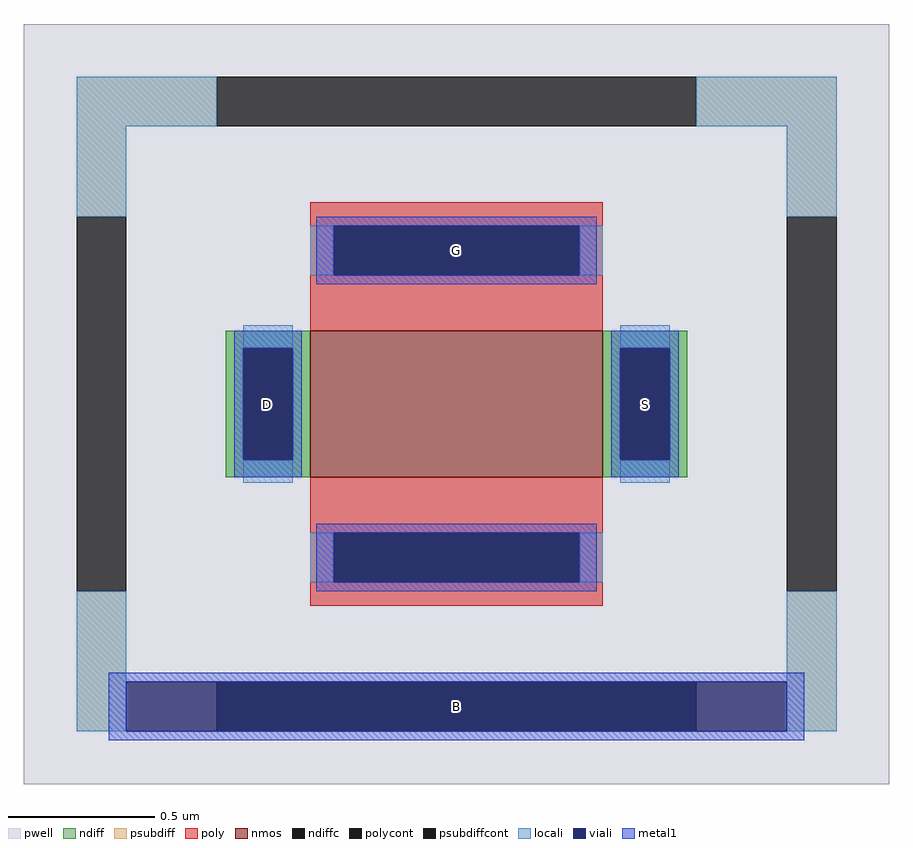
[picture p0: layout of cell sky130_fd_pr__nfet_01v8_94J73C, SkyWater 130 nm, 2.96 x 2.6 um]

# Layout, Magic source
magic
tech sky130A
magscale 1 2
<< pwell >>
rect -296 -260 296 260
<< nmos >>
rect -100 -50 100 50
<< ndiff >>
rect -158 38 -100 50
rect -158 -38 -146 38
rect -112 -38 -100 38
rect -158 -50 -100 -38
rect 100 38 158 50
rect 100 -38 112 38
rect 146 -38 158 38
rect 100 -50 158 -38
<< ndiffc >>
rect -146 -38 -112 38
rect 112 -38 146 38
<< psubdiff >>
rect -260 190 -164 224
rect 164 190 260 224
rect -260 128 -226 190
rect 226 128 260 190
rect -260 -190 -226 -128
rect 226 -190 260 -128
rect -260 -224 -164 -190
rect 164 -224 260 -190
<< psubdiffcont >>
rect -164 190 164 224
rect -260 -128 -226 128
rect 226 -128 260 128
rect -164 -224 164 -190
<< poly >>
rect -100 122 100 138
rect -100 88 -84 122
rect 84 88 100 122
rect -100 50 100 88
rect -100 -88 100 -50
rect -100 -122 -84 -88
rect 84 -122 100 -88
rect -100 -138 100 -122
<< polycont >>
rect -84 88 84 122
rect -84 -122 84 -88
<< locali >>
rect -260 190 -164 224
rect 164 190 260 224
rect -260 128 -226 190
rect 226 128 260 190
rect -100 88 -84 122
rect 84 88 100 122
rect -146 38 -112 54
rect -146 -54 -112 -38
rect 112 38 146 54
rect 112 -54 146 -38
rect -100 -122 -84 -88
rect 84 -122 100 -88
rect -260 -224 -226 -128
rect 226 -224 260 -128
<< viali >>
rect -84 88 84 122
rect -146 -38 -112 38
rect 112 -38 146 38
rect -84 -122 84 -88
rect -226 -224 -164 -190
rect -164 -224 164 -190
rect 164 -224 226 -190
<< metal1 >>
rect -96 122 96 128
rect -96 88 -84 122
rect 84 88 96 122
rect -96 82 96 88
rect -152 38 -106 50
rect -152 -38 -146 38
rect -112 -38 -106 38
rect -152 -50 -106 -38
rect 106 38 152 50
rect 106 -38 112 38
rect 146 -38 152 38
rect 106 -50 152 -38
rect -96 -88 96 -82
rect -96 -122 -84 -88
rect 84 -122 96 -88
rect -96 -128 96 -122
rect -238 -190 238 -184
rect -238 -224 -226 -190
rect 226 -224 238 -190
rect -238 -230 238 -224
<< labels >>
rlabel psubdiffcont 0 -207 0 -207 0 B
port 1 nsew
rlabel ndiffc -129 0 -129 0 0 D
port 2 nsew
rlabel ndiffc 129 0 129 0 0 S
port 3 nsew
rlabel polycont 0 105 0 105 0 G
port 4 nsew
<< properties >>
string FIXED_BBOX -243 -207 243 207
string gencell sky130_fd_pr__nfet_01v8
string library sky130
string parameters w 0.5 l 1.0 m 1 nf 1 diffcov 100 polycov 100 guard 1 glc 1 grc 1 gtc 1 gbc 1 tbcov 100 rlcov 100 topc 1 botc 1 poverlap 0 doverlap 1 lmin 0.15 wmin 0.42 class mosfet compatible {sky130_fd_pr__nfet_01v8 sky130_fd_pr__nfet_01v8_lvt  sky130_fd_bs_flash__special_sonosfet_star  sky130_fd_pr__nfet_g5v0d10v5 sky130_fd_pr__nfet_05v0_nvt  sky130_fd_pr__nfet_03v3_nvt} full_metal 1 conn_gates 0 viasrc 100 viadrn 100 viagate 100 viagb 100 viagr 0 viagl 0 viagt 0 doports 1
<< end >>
